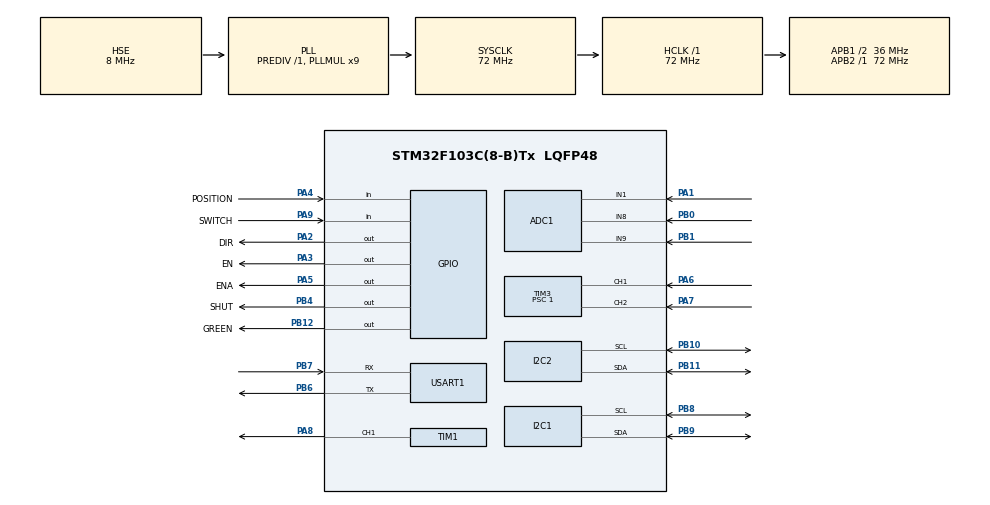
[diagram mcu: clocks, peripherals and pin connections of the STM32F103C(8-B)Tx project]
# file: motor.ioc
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ADC1.Channel-2\#ChannelRegularConversion=ADC_CHANNEL_1
ADC1.Channel-3\#ChannelRegularConversion=ADC_CHANNEL_8
ADC1.Channel-4\#ChannelRegularConversion=ADC_CHANNEL_9
ADC1.ContinuousConvMode=DISABLE
ADC1.NbrOfConversion=3
ADC1.NbrOfConversionFlag=1
ADC1.Rank-2\#ChannelRegularConversion=1
ADC1.Rank-3\#ChannelRegularConversion=2
ADC1.Rank-4\#ChannelRegularConversion=3
ADC1.SamplingTime-2\#ChannelRegularConversion=ADC_SAMPLETIME_55CYCLES_5
ADC1.SamplingTime-3\#ChannelRegularConversion=ADC_SAMPLETIME_55CYCLES_5
ADC1.SamplingTime-4\#ChannelRegularConversion=ADC_SAMPLETIME_55CYCLES_5
ADC1.master=1
Dma.ADC1.0.Direction=DMA_PERIPH_TO_MEMORY
Dma.ADC1.0.Instance=DMA1_Channel1
Dma.ADC1.0.MemDataAlignment=DMA_MDATAALIGN_HALFWORD
Dma.ADC1.0.MemInc=DMA_MINC_ENABLE
Dma.ADC1.0.Mode=DMA_CIRCULAR
Dma.ADC1.0.PeriphDataAlignment=DMA_PDATAALIGN_HALFWORD
Dma.ADC1.0.PeriphInc=DMA_PINC_DISABLE
Dma.ADC1.0.Priority=DMA_PRIORITY_LOW
Dma.Request0=ADC1
Dma.Request1=USART1_RX
Dma.Request2=USART1_TX
Dma.USART1_RX.1.Direction=DMA_PERIPH_TO_MEMORY
Dma.USART1_RX.1.Instance=DMA1_Channel5
Dma.USART1_RX.1.MemDataAlignment=DMA_MDATAALIGN_BYTE
Dma.USART1_RX.1.MemInc=DMA_MINC_ENABLE
Dma.USART1_RX.1.Mode=DMA_NORMAL
Dma.USART1_RX.1.PeriphDataAlignment=DMA_PDATAALIGN_BYTE
Dma.USART1_RX.1.PeriphInc=DMA_PINC_DISABLE
Dma.USART1_RX.1.Priority=DMA_PRIORITY_LOW
Dma.USART1_TX.2.Direction=DMA_MEMORY_TO_PERIPH
Dma.USART1_TX.2.Instance=DMA1_Channel4
Dma.USART1_TX.2.MemDataAlignment=DMA_MDATAALIGN_BYTE
Dma.USART1_TX.2.MemInc=DMA_MINC_ENABLE
Dma.USART1_TX.2.Mode=DMA_NORMAL
Dma.USART1_TX.2.PeriphDataAlignment=DMA_PDATAALIGN_BYTE
Dma.USART1_TX.2.PeriphInc=DMA_PINC_DISABLE
Dma.USART1_TX.2.Priority=DMA_PRIORITY_LOW
I2C1.I2C_Mode=I2C_Standard
Mcu.Family=STM32F1
Mcu.Name=STM32F103C(8-B)Tx
Mcu.Package=LQFP48
NVIC.DMA1_Channel1_IRQn=true\:0\:0\:false\:false\:true\:false\:true\:true
NVIC.DMA1_Channel4_IRQn=true\:0\:0\:false\:false\:true\:false\:true\:true
NVIC.DMA1_Channel5_IRQn=true\:0\:0\:false\:false\:true\:false\:true\:true
NVIC.PriorityGroup=NVIC_PRIORITYGROUP_4
NVIC.TIM1_CC_IRQn=true\:2\:0\:true\:false\:true\:true\:true\:true
NVIC.TIM2_IRQn=true\:3\:0\:true\:false\:true\:true\:true\:true
NVIC.USART1_IRQn=true\:0\:0\:false\:false\:true\:true\:true\:true
PA1.Signal=ADCx_IN1
PA13.Mode=Serial_Wire
PA13.Signal=SYS_JTMS-SWDIO
PA14.Mode=Serial_Wire
PA14.Signal=SYS_JTCK-SWCLK
PA2.GPIO_Label=DIR
PA2.GPIO_Speed=GPIO_SPEED_FREQ_HIGH
PA2.Signal=GPIO_Output
PA3.GPIO_Label=EN
PA3.GPIO_Speed=GPIO_SPEED_FREQ_HIGH
PA3.Signal=GPIO_Output
PA4.GPIO_Label=POSITION
PA4.GPIO_PuPd=GPIO_PULLUP
PA4.Signal=GPIO_Input
PA5.GPIO_Label=ENA
PA5.Signal=GPIO_Output
PA6.Signal=S_TIM3_CH1
PA7.Signal=S_TIM3_CH2
PA8.Signal=S_TIM1_CH1
PA9.GPIO_Label=SWITCH
PA9.GPIO_PuPd=GPIO_PULLUP
PA9.Signal=GPIO_Input
PB0.Signal=ADCx_IN8
PB1.Signal=ADCx_IN9
PB10.Mode=I2C
PB10.Signal=I2C2_SCL
PB11.Mode=I2C
PB11.Signal=I2C2_SDA
PB12.GPIO_Label=GREEN
PB12.Signal=GPIO_Output
PB4.GPIO_Label=SHUT
PB4.GPIO_PuPd=GPIO_PULLUP
PB4.Signal=GPIO_Output
PB6.Mode=Asynchronous
PB6.Signal=USART1_TX
PB7.Mode=Asynchronous
PB7.Signal=USART1_RX
PB8.Mode=I2C
PB8.Signal=I2C1_SCL
PB9.Mode=I2C
PB9.Signal=I2C1_SDA
PD0-OSC_IN.Mode=HSE-External-Oscillator
PD0-OSC_IN.Signal=RCC_OSC_IN
PD1-OSC_OUT.Mode=HSE-External-Oscillator
PD1-OSC_OUT.Signal=RCC_OSC_OUT
ProjectManager.HeapSize=0x200
ProjectManager.StackSize=0x400
ProjectManager.TargetToolchain=STM32CubeIDE
RCC.ADCPresc=RCC_ADCPCLK2_DIV6
RCC.AHBFreq_Value=72000000
RCC.APB1CLKDivider=RCC_HCLK_DIV2
RCC.APB1Freq_Value=36000000
RCC.APB1TimFreq_Value=72000000
RCC.APB2Freq_Value=72000000
RCC.APB2TimFreq_Value=72000000
RCC.HCLKFreq_Value=72000000
RCC.PLLMUL=RCC_PLL_MUL9
RCC.PLLSourceVirtual=RCC_PLLSOURCE_HSE
RCC.SYSCLKFreq_VALUE=72000000
RCC.SYSCLKSource=RCC_SYSCLKSOURCE_PLLCLK
RCC.USBFreq_Value=72000000
SH.ADCx_IN1.0=ADC1_IN1,IN1
SH.ADCx_IN8.0=ADC1_IN8,IN8
SH.ADCx_IN9.0=ADC1_IN9,IN9
SH.S_TIM1_CH1.0=TIM1_CH1,Output Compare1 CH1
SH.S_TIM3_CH1.0=TIM3_CH1,Encoder_Interface
SH.S_TIM3_CH2.0=TIM3_CH2,Encoder_Interface
TIM1.AutoReloadPreload=TIM_AUTORELOAD_PRELOAD_DISABLE
TIM1.Channel-Output\ Compare1\ CH1=TIM_CHANNEL_1
TIM1.OC1Preload=DISABLE
TIM1.OCIdleState_1=TIM_OCIDLESTATE_RESET
TIM1.OCMode_1=TIM_OCMODE_TOGGLE
TIM1.Period=65536-1
TIM1.Prescaler=1000-1
TIM1.Pulse-Output\ Compare1\ CH1=6
TIM2.Period=1000-1
TIM2.Prescaler=720-1
TIM3.EncoderMode=TIM_ENCODERMODE_TI1
TIM3.IC1Filter=10
TIM3.IC2Filter=10
TIM3.Prescaler=1
USART1.VirtualMode=VM_ASYNC
VP_TIM1_VS_ClockSourceINT.Mode=Internal
VP_TIM2_VS_ClockSourceINT.Mode=Internal
board=custom

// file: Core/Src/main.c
/* USER CODE BEGIN Header */
/**
  ******************************************************************************
  * @file           : main.c
  * @brief          : Main program body
  ******************************************************************************
  * @attention
  *
  * Copyright (c) 2025 STMicroelectronics.
  * All rights reserved.
  *
  * This software is licensed under terms that can be found in the LICENSE file
  * in the root directory of this software component.
  * If no LICENSE file comes with this software, it is provided AS-IS.
  *
  ******************************************************************************
  */
/* USER CODE END Header */
#include "main.h"
#include "adc.h"
#include "dma.h"
#include "i2c.h"
#include "tim.h"
#include "usart.h"
#include "gpio.h"

/* USER CODE BEGIN Includes */
#include "motor.h"
#include "usart_with_zdt.h"
#include "TOF050C.h"
#include "key.h"
#include "state_machine.h"
#include <string.h>
/* USER CODE END Includes */

/* USER CODE BEGIN PD */
#define DEBUG_INFO  0           //调试�??????????�??????????
uint8_t send_buffer[128]={0};
/* USER CODE END PD */

void SystemClock_Config(void);

/* USER CODE BEGIN 0 */

void HAL_UARTEx_RxEventCallback(UART_HandleTypeDef *huart, uint16_t Size)
{
	//串口空闲中断
//	if((huart == PC_USART))  //�???测是否为正确通道与是否为串口空闲中断
//	{
//		HAL_GPIO_TogglePin(GREEN_GPIO_Port, GREEN_Pin);
////		global_state = RUNNING;
////		pc_rxFIFO.rxcount = DMA_BUFFER_SIZE - __HAL_DMA_GET_COUNTER(PC_DMA);   //获取数据长度
////		PtrWrite_Change(&pc_rxFIFO);                                              //修改写指针，即改变下�???次接收时缓冲区存储的起始位置
////
//////		memcpy(rxCmd,pc_rxFIFO.buffer[pc_rxFIFO.ptrRead],pc_rxFIFO.rxcount);  //将缓冲区的数据用读指针拷贝到接收数组中，长度为rxCount
////
////		Send_Array_Length(&pc_rxFIFO.buffer[pc_rxFIFO.ptrRead],PC_USART,pc_rxFIFO.rxcount);
////		PtrRead_Change(&pc_rxFIFO);                                      //改变读指针，即改变下�???次读取时拷贝的起始位�???
//////		memset(usart_bluetooth.receive_buffer,0,data_length);
////		pc_rxFIFO.rxcount = 0;                                            //全局变量设置�???0，不影响下一次的读取与接�???
////		rxFrameFlag = true;
////		Send_sprintf(PC_USART, "from pc:%d\n",send_buffer[0]);
//		HAL_UARTEx_ReceiveToIdle_DMA(PC_USART,& pc_rxFIFO.buffer[pc_rxFIFO.ptrWrite], DMA_BUFFER_SIZE);  //重新�???始接�???
////		HAL_UARTEx_ReceiveToIdle_DMA(PC_USART,  send_buffer, DMA_BUFFER_SIZE);  //重新�???始接�???
//	   	__HAL_DMA_DISABLE_IT( PC_DMA,DMA_IT_HT);//关闭传输过半中断
////
//	}
	//串口空闲中断
	if((huart == PC_USART))  //�???测是否为正确通道与是否为串口空闲中断
	{
		HAL_GPIO_TogglePin(GREEN_GPIO_Port, GREEN_Pin);
		global_state = RUNNING;
		rxFIFO.rxcount = DMA_BUFFER_SIZE - __HAL_DMA_GET_COUNTER(PC_DMA);   //获取数据长度

		memcpy(&rxFIFO.buffer[rxFIFO.ptrWrite],send_buffer,rxFIFO.rxcount);  //将缓冲区的数据用读指针拷贝到接收数组中，长度为rxCount
		PtrWrite_Change(&rxFIFO);                                              //修改写指针，即改变下�???次接收时缓冲区存储的起始位置
		memset(send_buffer,0x00,128);
		HAL_UARTEx_ReceiveToIdle_DMA(PC_USART, send_buffer, DMA_BUFFER_SIZE);  //重新�???始接�???
	   	__HAL_DMA_DISABLE_IT( PC_DMA,DMA_IT_HT);//关闭传输过半中断

	}
}
void TOF_start(void)
{
	  HAL_GPIO_WritePin(GPIOB, GPIO_PIN_4, GPIO_PIN_SET);
	  HAL_Delay(1000);

	  while(!VL6180X_Init())
	  {
		  Send_sprintf(PC_USART,"test!\n");
		  HAL_Delay(100);
	  }
	  Send_sprintf(PC_USART,"initial successful!\n");
	   VL6180X_ConfigureDefault();
	   Send_sprintf(PC_USART,"test2!\n");
	   HAL_Delay(2);
	    VL6180X_SetScaling(2);
	    Send_sprintf(PC_USART,"test begin!\n");
}

//void HAL_TIM_PeriodElapsedCallback(TIM_HandleTypeDef *htim)
//{
//	//在定时器中轮询按�??????????
//	if(htim == (&htim2))
//	{
//		  my_key_scan();
//	}
//
//}

/* USER CODE END 0 */

int main(void)
{

  /* USER CODE BEGIN 1 */
//	int i = 0;
//	uint16_t range = 0;
//	uint16_t real_range = 0;

  /* USER CODE END 1 */

  /* MCU Configuration--------------------------------------------------------*/

  /* Reset of all peripherals, Initializes the Flash interface and the Systick. */
  HAL_Init();

  /* Configure the system clock */
  SystemClock_Config();

  /* Initialize all configured peripherals */
  MX_GPIO_Init();
  MX_DMA_Init();
  MX_TIM1_Init();
  MX_I2C1_Init();
  MX_TIM2_Init();
  MX_TIM3_Init();
  MX_ADC1_Init();
  MX_I2C2_Init();
  MX_USART1_UART_Init();
  /* USER CODE BEGIN 2 */
   HAL_TIM_Base_Start_IT(&htim2);
   Encoder_Init();
   my_key_init();
   motor_timer_init();

   HAL_UARTEx_ReceiveToIdle_DMA(PC_USART,&send_buffer[0] , DMA_BUFFER_SIZE);
   	__HAL_DMA_DISABLE_IT(PC_DMA,DMA_IT_HT);//关闭传输过半中断

//    HAL_UARTEx_ReceiveToIdle_DMA(&huart1,&send_buffer[0] , DMA_BUFFER_SIZE);
//    	__HAL_DMA_DISABLE_IT( &hdma_usart1_rx,DMA_IT_HT);//关闭传输过半中断
//   receive_usart_DMA(PC_USART,PC_DMA,&pc_rxFIFO);
//   receive_usart_DMA( MOTOR_USART, MOTOR_DMA,&rxFIFO);
//   receive_usart_DMA(PC_USART,PC_DMA,send_buffer);
//   receive_usart_DMA( MOTOR_USART, MOTOR_DMA,send_buffer);

  state_machine_init();  //打开状�?�机
//

  TOF_start();     //打开TOF

//
//    VL6180X_Offset_Calibration();
//    HAL_Delay(2000);
//    VL6180X_Offset_Calibration();

  /* USER CODE END 2 */

  /* Infinite loop */
  /* USER CODE BEGIN WHILE */
  while (1)
  {

//	  position = Read_ProcessedEncoder();
//	  Send_sprintf("%d\n",position);
//	  range = VL6180X_ReadRangeSingleMillimeters();
//	  Send_sprintf("%d\n",range);
//	  Rotate_Givenpulse(3200);
//	  HAL_Delay(1000);
//	  Rotate_Givenpulse(-3200);
//	  HAL_Delay(2000);
//	  Send_sprintf("%d\n",global_state);
//	  global_state = RUNNING;

	 my_state_machine[global_state].my_func();

	         //�?????????100ms读取�?????????次TOF050C的�??
	  	   //�?????????100ms进行�?????????次pid调试
//	  		uint32_t now_time = 0;
//	  		static uint32_t last_time = 0;
//	  		now_time = HAL_GetTick();   //得到现在的时�?????????
////	  		Send_sprintf("%d,%d\n",now_time,last_time);
//	  		if((now_time - last_time)>= 100)
//	  		{
//	  			range = VL6180X_ReadRangeSingleMillimeters();
//
//	  			pid_control_motor(range,60);
//	  			Send_sprintf("%d,%d\n",range,my_pid.error);
//	  			last_time = HAL_GetTick();
//	  		}

#if(DEBUG_INFO == 1)
	  Key_CallbackFunc();
	  range = VL6180X_ReadRangeSingleMillimeters();
      real_range = filter(range);
      Send_sprintf("%d, %d\n",real_range,range);
      HAL_Delay(100);
#endif
    /* USER CODE END WHILE */

  }
}

void SystemClock_Config(void)
{
  RCC_OscInitTypeDef RCC_OscInitStruct = {0};
  RCC_ClkInitTypeDef RCC_ClkInitStruct = {0};
  RCC_PeriphCLKInitTypeDef PeriphClkInit = {0};

  /** Initializes the RCC Oscillators according to the specified parameters
  * in the RCC_OscInitTypeDef structure.
  */
  RCC_OscInitStruct.OscillatorType = RCC_OSCILLATORTYPE_HSE;
  RCC_OscInitStruct.HSEState = RCC_HSE_ON;
  RCC_OscInitStruct.HSEPredivValue = RCC_HSE_PREDIV_DIV1;
  RCC_OscInitStruct.HSIState = RCC_HSI_ON;
  RCC_OscInitStruct.PLL.PLLState = RCC_PLL_ON;
  RCC_OscInitStruct.PLL.PLLSource = RCC_PLLSOURCE_HSE;
  RCC_OscInitStruct.PLL.PLLMUL = RCC_PLL_MUL9;
  if (HAL_RCC_OscConfig(&RCC_OscInitStruct) != HAL_OK)
  {
    Error_Handler();
  }

  /** Initializes the CPU, AHB and APB buses clocks
  */
  RCC_ClkInitStruct.ClockType = RCC_CLOCKTYPE_HCLK|RCC_CLOCKTYPE_SYSCLK
                              |RCC_CLOCKTYPE_PCLK1|RCC_CLOCKTYPE_PCLK2;
  RCC_ClkInitStruct.SYSCLKSource = RCC_SYSCLKSOURCE_PLLCLK;
  RCC_ClkInitStruct.AHBCLKDivider = RCC_SYSCLK_DIV1;
  RCC_ClkInitStruct.APB1CLKDivider = RCC_HCLK_DIV2;
  RCC_ClkInitStruct.APB2CLKDivider = RCC_HCLK_DIV1;

  if (HAL_RCC_ClockConfig(&RCC_ClkInitStruct, FLASH_LATENCY_2) != HAL_OK)
  {
    Error_Handler();
  }
  PeriphClkInit.PeriphClockSelection = RCC_PERIPHCLK_ADC;
  PeriphClkInit.AdcClockSelection = RCC_ADCPCLK2_DIV6;
  if (HAL_RCCEx_PeriphCLKConfig(&PeriphClkInit) != HAL_OK)
  {
    Error_Handler();
  }
}

void Error_Handler(void)
{
  __disable_irq();
  while (1)
  {
  }
}
